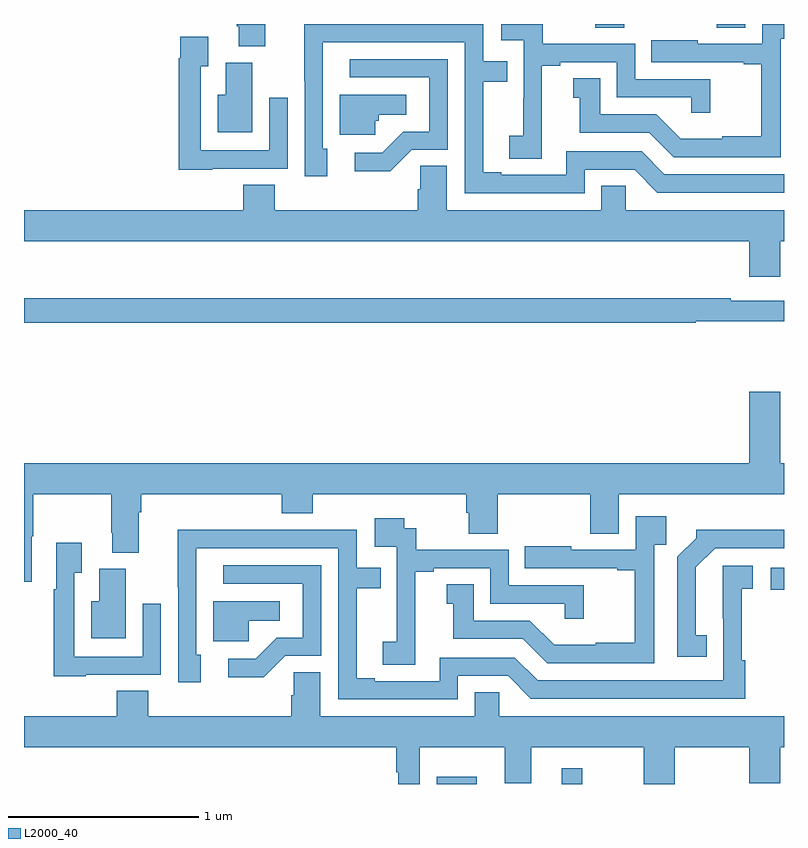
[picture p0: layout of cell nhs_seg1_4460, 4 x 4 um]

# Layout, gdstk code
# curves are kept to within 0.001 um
import gdstk
lib = gdstk.Library(unit=1e-6, precision=1e-09)
def R(c, l, rs):  # rectangles x0, y0, x1, y1
    for r in rs: c.add(gdstk.rectangle(r[:2], r[2:], *l))
def P(c, l, *ps):  # polygons
    for p in ps: c.add(gdstk.Polygon(p, *l))
L2000_40 = (2000, 40)

nhs_seg1_4460 = lib.new_cell('nhs_seg1_4460')
R(nhs_seg1_4460, L2000_40, [(355.172,558.199,355.384,558.238), (355.83,558.199,355.939,558.283), (356.931,559.222,357,559.338), (356.006,562.18,356.159,562.199), (356.645,562.18,356.797,562.199)])
P(nhs_seg1_4460, L2000_40, [(355.95,561.432),(356.214,561.432),(356.334,561.312),(357,561.312),(357,561.408),(356.37,561.408),(356.25,561.528),(355.854,561.528),(355.854,561.405),(355.513,561.405),(355.513,561.42),(355.417,561.42),(355.417,561.894),(355.544,561.894),(355.544,562.002),(355.416,562.002),(355.416,562.199),(354.476,562.199),(354.477,561.399),(354.595,561.399),(354.595,561.543),(354.573,561.543),(354.573,562.104),(355.32,562.104),(355.32,561.309),(355.95,561.309)],
  [(355.724,561.601),(355.726,561.601),(355.726,561.979),(355.822,561.979),(355.822,561.999),(356.121,561.999),(356.121,561.813),(356.511,561.813),(356.511,561.732),(356.612,561.732),(356.612,561.909),(356.217,561.909),(356.217,562.095),(355.73,562.095),(355.73,562.199),(355.512,562.199),(355.512,562.113),(355.629,562.113),(355.629,561.809),(355.628,561.809),(355.628,561.612),(355.554,561.612),(355.554,561.49),(355.724,561.49)],
  [(354.271,562.199),(354.119,562.199),(354.119,562.186),(354.131,562.186),(354.131,562.081),(354.271,562.081)],
  [(356.982,562.121),(357,562.121),(357,562.199),(356.886,562.199),(356.886,562.095),(356.545,562.095),(356.545,562.114),(356.302,562.114),(356.302,561.999),(356.789,561.999),(356.789,561.987),(356.881,561.987),(356.881,561.607),(356.675,561.607),(356.675,561.595),(356.456,561.595),(356.328,561.723),(356.032,561.723),(356.032,561.914),(355.892,561.914),(355.892,561.811),(355.925,561.811),(355.925,561.627),(356.292,561.627),(356.421,561.498),(356.982,561.498)],
  [(353.991,561.438),(354.387,561.438),(354.387,561.811),(354.291,561.811),(354.291,561.534),(353.931,561.534),(353.931,561.976),(353.971,561.976),(353.971,562.132),(353.823,562.132),(353.823,562.019),(353.815,562.019),(353.815,561.431),(353.991,561.431)],
  [(355.041,561.537),(355.23,561.537),(355.23,562.014),(354.714,562.014),(354.714,561.918),(355.134,561.918),(355.134,561.633),(354.996,561.633),(354.885,561.522),(354.741,561.522),(354.741,561.425),(354.928,561.425)],
  [(354.202,561.996),(354.062,561.996),(354.062,561.826),(354.02,561.826),(354.02,561.629),(354.202,561.629)],
  [(354.849,561.69),(354.868,561.69),(354.868,561.722),(355.012,561.722),(355.012,561.826),(354.662,561.826),(354.662,561.615),(354.849,561.615)],
  [(356.166,561.347),(356.039,561.347),(356.039,561.22),(355.225,561.22),(355.225,561.452),(355.086,561.452),(355.086,561.329),(355.073,561.329),(355.073,561.22),(354.32,561.22),(354.32,561.353),(354.155,561.353),(354.155,561.22),(353,561.22),(353,561.056),(356.816,561.056),(356.816,560.868),(356.98,560.868),(356.98,561.056),(357,561.056),(357,561.22),(356.166,561.22)],
  [(356.536,560.634),(357,560.634),(357,560.742),(356.72,560.742),(356.72,560.755),(353,560.755),(353,560.626),(356.536,560.626)],
  [(353.041,559.502),(353.049,559.502),(353.049,559.724),(353.458,559.724),(353.458,559.522),(353.465,559.522),(353.465,559.417),(353.605,559.417),(353.605,559.628),(353.618,559.628),(353.618,559.724),(354.356,559.724),(354.356,559.625),(354.521,559.625),(354.521,559.724),(355.328,559.724),(355.328,559.626),(355.34,559.626),(355.34,559.516),(355.493,559.516),(355.493,559.724),(355.979,559.724),(355.979,559.516),(356.131,559.516),(356.131,559.724),(357,559.724),(357,559.888),(356.98,559.888),(356.98,560.263),(356.816,560.263),(356.816,559.888),(353,559.888),(353,559.263),(353.041,559.263)],
  [(356.316,559.457),(356.381,559.457),(356.381,559.609),(356.22,559.609),(356.22,559.431),(355.879,559.431),(355.879,559.45),(355.636,559.45),(355.636,559.335),(356.123,559.335),(356.123,559.323),(356.215,559.323),(356.215,558.943),(356.009,558.943),(356.009,558.931),(355.79,558.931),(355.662,559.059),(355.366,559.059),(355.366,559.25),(355.226,559.25),(355.226,559.147),(355.259,559.147),(355.259,558.963),(355.626,558.963),(355.755,558.834),(356.316,558.834)],
  [(355.058,558.937),(355.06,558.937),(355.06,559.315),(355.156,559.315),(355.156,559.335),(355.455,559.335),(355.455,559.149),(355.845,559.149),(355.845,559.068),(355.946,559.068),(355.946,559.245),(355.551,559.245),(355.551,559.431),(355.064,559.431),(355.064,559.545),(355.002,559.545),(355.002,559.597),(354.846,559.597),(354.846,559.449),(354.963,559.449),(354.963,559.145),(354.962,559.145),(354.962,558.948),(354.888,558.948),(354.888,558.826),(355.058,558.826)],
  [(355.284,558.768),(355.548,558.768),(355.668,558.648),(356.795,558.648),(356.795,558.851),(356.778,558.851),(356.778,559.227),(356.836,559.227),(356.836,559.348),(356.678,559.348),(356.679,558.744),(355.704,558.744),(355.584,558.864),(355.188,558.864),(355.188,558.741),(354.847,558.741),(354.847,558.756),(354.751,558.756),(354.751,559.23),(354.878,559.23),(354.878,559.338),(354.75,559.338),(354.75,559.536),(354.272,559.536),(354.272,559.538),(353.81,559.538),(353.811,558.735),(353.929,558.735),(353.929,558.879),(353.907,558.879),(353.907,559.44),(354.654,559.44),(354.654,558.645),(355.284,558.645)],
  [(356.594,558.983),(356.536,558.983),(356.536,559.339),(356.637,559.44),(357,559.44),(357,559.536),(356.972,559.536),(356.972,559.538),(356.538,559.538),(356.538,559.493),(356.439,559.394),(356.439,558.87),(356.594,558.87)],
  [(353.325,558.774),(353.721,558.774),(353.721,559.147),(353.625,559.147),(353.625,558.87),(353.265,558.87),(353.265,559.312),(353.305,559.312),(353.305,559.468),(353.169,559.468),(353.169,559.223),(353.157,559.223),(353.157,558.767),(353.325,558.767)],
  [(354.375,558.873),(354.564,558.873),(354.564,559.35),(354.048,559.35),(354.048,559.254),(354.468,559.254),(354.468,558.969),(354.33,558.969),(354.219,558.858),(354.075,558.858),(354.075,558.761),(354.262,558.761)],
  [(353.536,559.332),(353.396,559.332),(353.396,559.162),(353.354,559.162),(353.354,558.965),(353.536,558.965)],
  [(354.183,559.058),(354.346,559.058),(354.346,559.162),(353.996,559.162),(353.996,558.951),(354.183,558.951)],
  [(355.084,558.392),(355.529,558.392),(355.529,558.203),(355.669,558.203),(355.669,558.392),(356.261,558.392),(356.261,558.199),(356.425,558.199),(356.425,558.392),(356.816,558.392),(356.816,558.204),(356.98,558.204),(356.98,558.392),(357,558.392),(357,558.556),(355.5,558.556),(355.5,558.683),(355.373,558.683),(355.373,558.556),(354.559,558.556),(354.559,558.788),(354.42,558.788),(354.42,558.665),(354.407,558.665),(354.407,558.556),(353.654,558.556),(353.654,558.689),(353.489,558.689),(353.489,558.556),(353,558.556),(353,558.392),(354.959,558.392),(354.959,558.26),(354.971,558.26),(354.971,558.199),(355.084,558.199)])

lib.write_gds('nhs_seg1_4460.gds')
